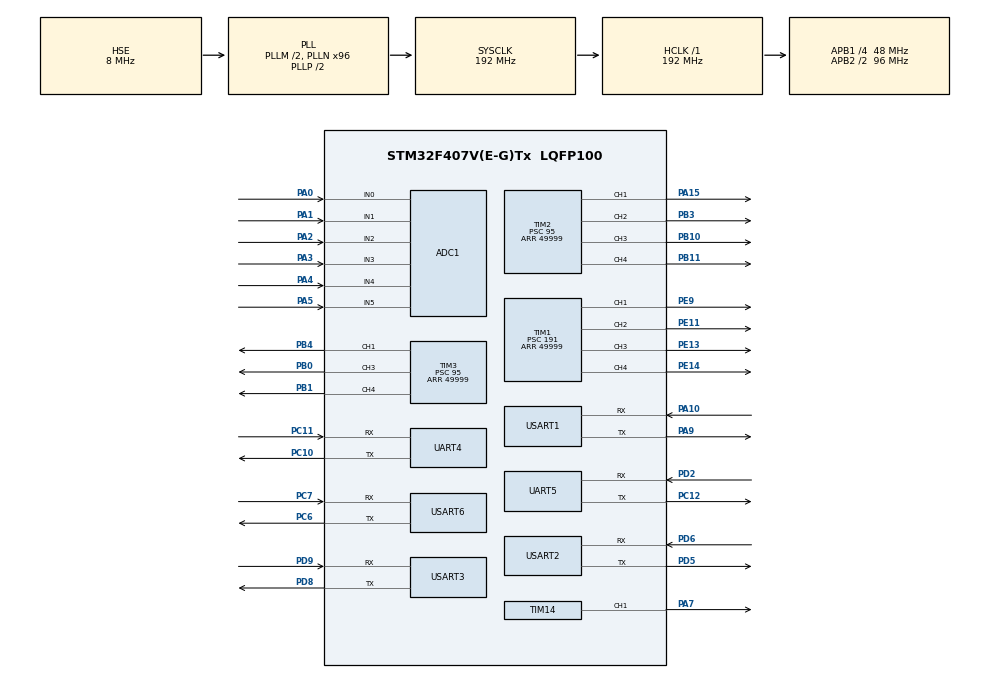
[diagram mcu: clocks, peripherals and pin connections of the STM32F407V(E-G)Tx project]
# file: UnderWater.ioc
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ADC1.Channel-0\#ChannelRegularConversion=ADC_CHANNEL_0
ADC1.Channel-1\#ChannelRegularConversion=ADC_CHANNEL_1
ADC1.Channel-2\#ChannelRegularConversion=ADC_CHANNEL_2
ADC1.Channel-3\#ChannelRegularConversion=ADC_CHANNEL_3
ADC1.Channel-4\#ChannelRegularConversion=ADC_CHANNEL_4
ADC1.Channel-5\#ChannelRegularConversion=ADC_CHANNEL_5
ADC1.ContinuousConvMode=ENABLE
ADC1.DMAContinuousRequests=ENABLE
ADC1.EOCSelection=ADC_EOC_SEQ_CONV
ADC1.NbrOfConversion=6
ADC1.NbrOfConversionFlag=1
ADC1.Rank-0\#ChannelRegularConversion=1
ADC1.Rank-1\#ChannelRegularConversion=2
ADC1.Rank-2\#ChannelRegularConversion=3
ADC1.Rank-3\#ChannelRegularConversion=4
ADC1.Rank-4\#ChannelRegularConversion=5
ADC1.Rank-5\#ChannelRegularConversion=6
ADC1.SamplingTime-0\#ChannelRegularConversion=ADC_SAMPLETIME_28CYCLES
ADC1.SamplingTime-1\#ChannelRegularConversion=ADC_SAMPLETIME_28CYCLES
ADC1.SamplingTime-2\#ChannelRegularConversion=ADC_SAMPLETIME_28CYCLES
ADC1.SamplingTime-3\#ChannelRegularConversion=ADC_SAMPLETIME_28CYCLES
ADC1.SamplingTime-4\#ChannelRegularConversion=ADC_SAMPLETIME_28CYCLES
ADC1.SamplingTime-5\#ChannelRegularConversion=ADC_SAMPLETIME_28CYCLES
ADC1.ScanConvMode=ENABLE
ADC1.master=1
Dma.ADC1.12.Direction=DMA_PERIPH_TO_MEMORY
Dma.ADC1.12.FIFOMode=DMA_FIFOMODE_DISABLE
Dma.ADC1.12.Instance=DMA2_Stream0
Dma.ADC1.12.MemDataAlignment=DMA_MDATAALIGN_WORD
Dma.ADC1.12.MemInc=DMA_MINC_ENABLE
Dma.ADC1.12.Mode=DMA_CIRCULAR
Dma.ADC1.12.PeriphDataAlignment=DMA_PDATAALIGN_WORD
Dma.ADC1.12.PeriphInc=DMA_PINC_DISABLE
Dma.ADC1.12.Priority=DMA_PRIORITY_LOW
Dma.Request0=UART4_RX
Dma.Request1=UART4_TX
Dma.Request10=USART6_RX
Dma.Request11=USART6_TX
Dma.Request12=ADC1
Dma.Request2=UART5_RX
Dma.Request3=UART5_TX
Dma.Request4=USART1_RX
Dma.Request5=USART1_TX
Dma.Request6=USART2_RX
Dma.Request7=USART2_TX
Dma.Request8=USART3_RX
Dma.Request9=USART3_TX
Dma.UART4_RX.0.Direction=DMA_PERIPH_TO_MEMORY
Dma.UART4_RX.0.FIFOMode=DMA_FIFOMODE_DISABLE
Dma.UART4_RX.0.Instance=DMA1_Stream2
Dma.UART4_RX.0.MemDataAlignment=DMA_MDATAALIGN_BYTE
Dma.UART4_RX.0.MemInc=DMA_MINC_ENABLE
Dma.UART4_RX.0.Mode=DMA_NORMAL
Dma.UART4_RX.0.PeriphDataAlignment=DMA_PDATAALIGN_BYTE
Dma.UART4_RX.0.PeriphInc=DMA_PINC_DISABLE
Dma.UART4_RX.0.Priority=DMA_PRIORITY_LOW
Dma.UART4_TX.1.Direction=DMA_MEMORY_TO_PERIPH
Dma.UART4_TX.1.FIFOMode=DMA_FIFOMODE_DISABLE
Dma.UART4_TX.1.Instance=DMA1_Stream4
Dma.UART4_TX.1.MemDataAlignment=DMA_MDATAALIGN_BYTE
Dma.UART4_TX.1.MemInc=DMA_MINC_ENABLE
Dma.UART4_TX.1.Mode=DMA_NORMAL
Dma.UART4_TX.1.PeriphDataAlignment=DMA_PDATAALIGN_BYTE
Dma.UART4_TX.1.PeriphInc=DMA_PINC_DISABLE
Dma.UART4_TX.1.Priority=DMA_PRIORITY_LOW
Dma.UART5_RX.2.Direction=DMA_PERIPH_TO_MEMORY
Dma.UART5_RX.2.FIFOMode=DMA_FIFOMODE_DISABLE
Dma.UART5_RX.2.Instance=DMA1_Stream0
Dma.UART5_RX.2.MemDataAlignment=DMA_MDATAALIGN_BYTE
Dma.UART5_RX.2.MemInc=DMA_MINC_ENABLE
Dma.UART5_RX.2.Mode=DMA_NORMAL
Dma.UART5_RX.2.PeriphDataAlignment=DMA_PDATAALIGN_BYTE
Dma.UART5_RX.2.PeriphInc=DMA_PINC_DISABLE
Dma.UART5_RX.2.Priority=DMA_PRIORITY_LOW
Dma.UART5_TX.3.Direction=DMA_MEMORY_TO_PERIPH
Dma.UART5_TX.3.FIFOMode=DMA_FIFOMODE_DISABLE
Dma.UART5_TX.3.Instance=DMA1_Stream7
Dma.UART5_TX.3.MemDataAlignment=DMA_MDATAALIGN_BYTE
Dma.UART5_TX.3.MemInc=DMA_MINC_ENABLE
Dma.UART5_TX.3.Mode=DMA_NORMAL
Dma.UART5_TX.3.PeriphDataAlignment=DMA_PDATAALIGN_BYTE
Dma.UART5_TX.3.PeriphInc=DMA_PINC_DISABLE
Dma.UART5_TX.3.Priority=DMA_PRIORITY_LOW
Dma.USART1_RX.4.Direction=DMA_PERIPH_TO_MEMORY
Dma.USART1_RX.4.FIFOMode=DMA_FIFOMODE_DISABLE
Dma.USART1_RX.4.Instance=DMA2_Stream2
Dma.USART1_RX.4.MemDataAlignment=DMA_MDATAALIGN_BYTE
Dma.USART1_RX.4.MemInc=DMA_MINC_ENABLE
Dma.USART1_RX.4.Mode=DMA_NORMAL
Dma.USART1_RX.4.PeriphDataAlignment=DMA_PDATAALIGN_BYTE
Dma.USART1_RX.4.PeriphInc=DMA_PINC_DISABLE
Dma.USART1_RX.4.Priority=DMA_PRIORITY_LOW
Dma.USART1_TX.5.Direction=DMA_MEMORY_TO_PERIPH
Dma.USART1_TX.5.FIFOMode=DMA_FIFOMODE_DISABLE
Dma.USART1_TX.5.Instance=DMA2_Stream7
Dma.USART1_TX.5.MemDataAlignment=DMA_MDATAALIGN_BYTE
Dma.USART1_TX.5.MemInc=DMA_MINC_ENABLE
Dma.USART1_TX.5.Mode=DMA_NORMAL
Dma.USART1_TX.5.PeriphDataAlignment=DMA_PDATAALIGN_BYTE
Dma.USART1_TX.5.PeriphInc=DMA_PINC_DISABLE
Dma.USART1_TX.5.Priority=DMA_PRIORITY_LOW
Dma.USART2_RX.6.Direction=DMA_PERIPH_TO_MEMORY
Dma.USART2_RX.6.FIFOMode=DMA_FIFOMODE_DISABLE
Dma.USART2_RX.6.Instance=DMA1_Stream5
Dma.USART2_RX.6.MemDataAlignment=DMA_MDATAALIGN_BYTE
Dma.USART2_RX.6.MemInc=DMA_MINC_ENABLE
Dma.USART2_RX.6.Mode=DMA_NORMAL
Dma.USART2_RX.6.PeriphDataAlignment=DMA_PDATAALIGN_BYTE
Dma.USART2_RX.6.PeriphInc=DMA_PINC_DISABLE
Dma.USART2_RX.6.Priority=DMA_PRIORITY_LOW
Dma.USART2_TX.7.Direction=DMA_MEMORY_TO_PERIPH
Dma.USART2_TX.7.FIFOMode=DMA_FIFOMODE_DISABLE
Dma.USART2_TX.7.Instance=DMA1_Stream6
Dma.USART2_TX.7.MemDataAlignment=DMA_MDATAALIGN_BYTE
Dma.USART2_TX.7.MemInc=DMA_MINC_ENABLE
Dma.USART2_TX.7.Mode=DMA_NORMAL
Dma.USART2_TX.7.PeriphDataAlignment=DMA_PDATAALIGN_BYTE
Dma.USART2_TX.7.PeriphInc=DMA_PINC_DISABLE
Dma.USART2_TX.7.Priority=DMA_PRIORITY_LOW
Dma.USART3_RX.8.Direction=DMA_PERIPH_TO_MEMORY
Dma.USART3_RX.8.FIFOMode=DMA_FIFOMODE_DISABLE
Dma.USART3_RX.8.Instance=DMA1_Stream1
Dma.USART3_RX.8.MemDataAlignment=DMA_MDATAALIGN_BYTE
Dma.USART3_RX.8.MemInc=DMA_MINC_ENABLE
Dma.USART3_RX.8.Mode=DMA_NORMAL
Dma.USART3_RX.8.PeriphDataAlignment=DMA_PDATAALIGN_BYTE
Dma.USART3_RX.8.PeriphInc=DMA_PINC_DISABLE
Dma.USART3_RX.8.Priority=DMA_PRIORITY_LOW
Dma.USART3_TX.9.Direction=DMA_MEMORY_TO_PERIPH
Dma.USART3_TX.9.FIFOMode=DMA_FIFOMODE_DISABLE
Dma.USART3_TX.9.Instance=DMA1_Stream3
Dma.USART3_TX.9.MemDataAlignment=DMA_MDATAALIGN_BYTE
Dma.USART3_TX.9.MemInc=DMA_MINC_ENABLE
Dma.USART3_TX.9.Mode=DMA_NORMAL
Dma.USART3_TX.9.PeriphDataAlignment=DMA_PDATAALIGN_BYTE
Dma.USART3_TX.9.PeriphInc=DMA_PINC_DISABLE
Dma.USART3_TX.9.Priority=DMA_PRIORITY_LOW
Dma.USART6_RX.10.Direction=DMA_PERIPH_TO_MEMORY
Dma.USART6_RX.10.FIFOMode=DMA_FIFOMODE_DISABLE
Dma.USART6_RX.10.Instance=DMA2_Stream1
Dma.USART6_RX.10.MemDataAlignment=DMA_MDATAALIGN_BYTE
Dma.USART6_RX.10.MemInc=DMA_MINC_ENABLE
Dma.USART6_RX.10.Mode=DMA_NORMAL
Dma.USART6_RX.10.PeriphDataAlignment=DMA_PDATAALIGN_BYTE
Dma.USART6_RX.10.PeriphInc=DMA_PINC_DISABLE
Dma.USART6_RX.10.Priority=DMA_PRIORITY_LOW
Dma.USART6_TX.11.Direction=DMA_MEMORY_TO_PERIPH
Dma.USART6_TX.11.FIFOMode=DMA_FIFOMODE_DISABLE
Dma.USART6_TX.11.Instance=DMA2_Stream6
Dma.USART6_TX.11.MemDataAlignment=DMA_MDATAALIGN_BYTE
Dma.USART6_TX.11.MemInc=DMA_MINC_ENABLE
Dma.USART6_TX.11.Mode=DMA_NORMAL
Dma.USART6_TX.11.PeriphDataAlignment=DMA_PDATAALIGN_BYTE
Dma.USART6_TX.11.PeriphInc=DMA_PINC_DISABLE
Dma.USART6_TX.11.Priority=DMA_PRIORITY_LOW
FREERTOS.Tasks01=ControlTask,2,128,CtrlTask,Default,NULL,Dynamic,NULL,NULL;DisplayTask,0,128,DisTask,Default,NULL,Dynamic,NULL,NULL;WaterDeepTask,0,128,WDTask,Default,NULL,Dynamic,NULL,NULL;AttitudeTask,0,128,AttTask,Default,NULL,Dynamic,NULL,NULL;EmptyTask,-3,128,EmpTask,Default,NULL,Dynamic,NULL,NULL;AutoMoveTask,0,128,AutoTask,Default,NULL,Dynamic,NULL,NULL;InitialTask,3,128,InitTask,Default,NULL,Dynamic,NULL,NULL;SwitcherTask,2,128,SWTask,Default,NULL,Dynamic,NULL,NULL
FREERTOS.configLIBRARY_MAX_SYSCALL_INTERRUPT_PRIORITY=5
IWDG.Prescaler=IWDG_PRESCALER_32
IWDG.Reload=2047
Mcu.Family=STM32F4
Mcu.Name=STM32F407V(E-G)Tx
Mcu.Package=LQFP100
NVIC.DMA1_Stream0_IRQn=true\:5\:0\:false\:false\:true\:true\:false\:true
NVIC.DMA1_Stream1_IRQn=true\:5\:0\:false\:false\:true\:true\:false\:true
NVIC.DMA1_Stream2_IRQn=true\:5\:0\:false\:false\:true\:true\:false\:true
NVIC.DMA1_Stream3_IRQn=true\:5\:0\:false\:false\:true\:true\:false\:true
NVIC.DMA1_Stream4_IRQn=true\:5\:0\:false\:false\:true\:true\:false\:true
NVIC.DMA1_Stream5_IRQn=true\:5\:0\:false\:false\:true\:true\:false\:true
NVIC.DMA1_Stream6_IRQn=true\:5\:0\:false\:false\:true\:true\:false\:true
NVIC.DMA1_Stream7_IRQn=true\:5\:0\:false\:false\:true\:true\:false\:true
NVIC.DMA2_Stream0_IRQn=true\:5\:0\:false\:false\:true\:true\:false\:true
NVIC.DMA2_Stream1_IRQn=true\:5\:0\:false\:false\:true\:true\:false\:true
NVIC.DMA2_Stream2_IRQn=true\:5\:0\:false\:false\:true\:true\:false\:true
NVIC.DMA2_Stream6_IRQn=true\:5\:0\:false\:false\:true\:true\:false\:true
NVIC.DMA2_Stream7_IRQn=true\:5\:0\:false\:false\:true\:true\:false\:true
NVIC.PriorityGroup=NVIC_PRIORITYGROUP_4
NVIC.TIM1_UP_TIM10_IRQn=true\:0\:0\:false\:false\:true\:false\:false\:true
NVIC.TIM7_IRQn=true\:7\:0\:true\:false\:true\:true\:true\:true
NVIC.TimeBase=TIM1_UP_TIM10_IRQn
NVIC.TimeBaseIP=TIM10
NVIC.UART4_IRQn=true\:6\:0\:true\:false\:true\:true\:true\:true
NVIC.UART5_IRQn=true\:6\:0\:true\:false\:true\:true\:true\:true
NVIC.USART1_IRQn=true\:5\:0\:true\:false\:true\:true\:true\:true
NVIC.USART2_IRQn=true\:6\:0\:true\:false\:true\:true\:true\:true
NVIC.USART3_IRQn=true\:6\:0\:true\:false\:true\:true\:true\:true
NVIC.USART6_IRQn=true\:6\:0\:true\:false\:true\:true\:true\:true
PA0-WKUP.Signal=ADCx_IN0
PA1.Signal=ADCx_IN1
PA10.Mode=Asynchronous
PA10.Signal=USART1_RX
PA13.Mode=Serial_Wire
PA13.Signal=SYS_JTMS-SWDIO
PA14.Mode=Serial_Wire
PA14.Signal=SYS_JTCK-SWCLK
PA15.Signal=S_TIM2_CH1_ETR
PA2.Signal=ADCx_IN2
PA3.Signal=ADCx_IN3
PA4.Signal=ADCx_IN4
PA5.Signal=ADCx_IN5
PA7.Signal=S_TIM14_CH1
PA9.Mode=Asynchronous
PA9.Signal=USART1_TX
PB0.Signal=S_TIM3_CH3
PB1.Signal=S_TIM3_CH4
PB10.Signal=S_TIM2_CH3
PB11.Signal=S_TIM2_CH4
PB3.Signal=S_TIM2_CH2
PB4.Signal=S_TIM3_CH1
PC10.Mode=Asynchronous
PC10.Signal=UART4_TX
PC11.Mode=Asynchronous
PC11.Signal=UART4_RX
PC12.Mode=Asynchronous
PC12.Signal=UART5_TX
PC14-OSC32_IN.Mode=LSE-External-Oscillator
PC14-OSC32_IN.Signal=RCC_OSC32_IN
PC15-OSC32_OUT.Mode=LSE-External-Oscillator
PC15-OSC32_OUT.Signal=RCC_OSC32_OUT
PC6.Mode=Asynchronous
PC6.Signal=USART6_TX
PC7.Mode=Asynchronous
PC7.Signal=USART6_RX
PD2.Mode=Asynchronous
PD2.Signal=UART5_RX
PD5.Mode=Asynchronous
PD5.Signal=USART2_TX
PD6.Mode=Asynchronous
PD6.Signal=USART2_RX
PD8.Mode=Asynchronous
PD8.Signal=USART3_TX
PD9.Mode=Asynchronous
PD9.Signal=USART3_RX
PE11.Signal=S_TIM1_CH2
PE13.Signal=S_TIM1_CH3
PE14.Signal=S_TIM1_CH4
PE9.Signal=S_TIM1_CH1
PH0-OSC_IN.Mode=HSE-External-Oscillator
PH0-OSC_IN.Signal=RCC_OSC_IN
PH1-OSC_OUT.Mode=HSE-External-Oscillator
PH1-OSC_OUT.Signal=RCC_OSC_OUT
ProjectManager.HeapSize=0x200
ProjectManager.StackSize=0x400
ProjectManager.TargetToolchain=MDK-ARM V5
RCC.48MHZClocksFreq_Value=96000000
RCC.AHBFreq_Value=192000000
RCC.APB1CLKDivider=RCC_HCLK_DIV4
RCC.APB1Freq_Value=48000000
RCC.APB1TimFreq_Value=96000000
RCC.APB2CLKDivider=RCC_HCLK_DIV2
RCC.APB2Freq_Value=96000000
RCC.APB2TimFreq_Value=192000000
RCC.CortexFreq_Value=192000000
RCC.HCLKFreq_Value=192000000
RCC.HSE_VALUE=8000000
RCC.HSI_VALUE=16000000
RCC.PLLM=2
RCC.PLLN=96
RCC.PLLSourceVirtual=RCC_PLLSOURCE_HSE
RCC.SYSCLKFreq_VALUE=192000000
RCC.SYSCLKSource=RCC_SYSCLKSOURCE_PLLCLK
RCC.VCOOutputFreq_Value=384000000
SH.ADCx_IN0.0=ADC1_IN0,IN0
SH.ADCx_IN1.0=ADC1_IN1,IN1
SH.ADCx_IN2.0=ADC1_IN2,IN2
SH.ADCx_IN3.0=ADC1_IN3,IN3
SH.ADCx_IN4.0=ADC1_IN4,IN4
SH.ADCx_IN5.0=ADC1_IN5,IN5
SH.S_TIM14_CH1.0=TIM14_CH1,PWM Generation1 CH1
SH.S_TIM1_CH1.0=TIM1_CH1,PWM Generation1 CH1
SH.S_TIM1_CH2.0=TIM1_CH2,PWM Generation2 CH2
SH.S_TIM1_CH3.0=TIM1_CH3,PWM Generation3 CH3
SH.S_TIM1_CH4.0=TIM1_CH4,PWM Generation4 CH4
SH.S_TIM2_CH1_ETR.0=TIM2_CH1,PWM Generation1 CH1
SH.S_TIM2_CH2.0=TIM2_CH2,PWM Generation2 CH2
SH.S_TIM2_CH3.0=TIM2_CH3,PWM Generation3 CH3
SH.S_TIM2_CH4.0=TIM2_CH4,PWM Generation4 CH4
SH.S_TIM3_CH1.0=TIM3_CH1,PWM Generation1 CH1
SH.S_TIM3_CH3.0=TIM3_CH3,PWM Generation3 CH3
SH.S_TIM3_CH4.0=TIM3_CH4,PWM Generation4 CH4
TIM1.Channel-PWM\ Generation1\ CH1=TIM_CHANNEL_1
TIM1.Channel-PWM\ Generation2\ CH2=TIM_CHANNEL_2
TIM1.Channel-PWM\ Generation3\ CH3=TIM_CHANNEL_3
TIM1.Channel-PWM\ Generation4\ CH4=TIM_CHANNEL_4
TIM1.Period=49999
TIM1.Prescaler=191
TIM1.Pulse-PWM\ Generation1\ CH1=1500
TIM1.Pulse-PWM\ Generation2\ CH2=1500
TIM1.Pulse-PWM\ Generation3\ CH3=1500
TIM1.Pulse-PWM\ Generation4\ CH4=1500
TIM14.Channel=TIM_CHANNEL_1
TIM14.Period=4999
TIM14.Prescaler=47
TIM2.Channel-PWM\ Generation1\ CH1=TIM_CHANNEL_1
TIM2.Channel-PWM\ Generation2\ CH2=TIM_CHANNEL_2
TIM2.Channel-PWM\ Generation3\ CH3=TIM_CHANNEL_3
TIM2.Channel-PWM\ Generation4\ CH4=TIM_CHANNEL_4
TIM2.Period=49999
TIM2.Prescaler=95
TIM2.Pulse-PWM\ Generation1\ CH1=1500
TIM2.Pulse-PWM\ Generation2\ CH2=1500
TIM2.Pulse-PWM\ Generation3\ CH3=1500
TIM2.Pulse-PWM\ Generation4\ CH4=1500
TIM3.Channel-PWM\ Generation1\ CH1=TIM_CHANNEL_1
TIM3.Channel-PWM\ Generation3\ CH3=TIM_CHANNEL_3
TIM3.Channel-PWM\ Generation4\ CH4=TIM_CHANNEL_4
TIM3.Period=49999
TIM3.Prescaler=95
TIM3.Pulse-PWM\ Generation1\ CH1=1500
TIM3.Pulse-PWM\ Generation3\ CH3=1500
TIM3.Pulse-PWM\ Generation4\ CH4=1500
TIM7.AutoReloadPreload=TIM_AUTORELOAD_PRELOAD_ENABLE
TIM7.Period=24999
TIM7.Prescaler=3839
UART4.VirtualMode=Asynchronous
UART5.VirtualMode=Asynchronous
USART1.VirtualMode=VM_ASYNC
USART2.VirtualMode=VM_ASYNC
USART3.VirtualMode=VM_ASYNC
USART6.VirtualMode=VM_ASYNC
VP_FREERTOS_VS_CMSIS_V1.Mode=CMSIS_V1
VP_IWDG_VS_IWDG.Mode=IWDG_Activate
VP_SYS_VS_tim10.Mode=TIM10
VP_TIM14_VS_ClockSourceINT.Mode=Enable_Timer
VP_TIM1_VS_ClockSourceINT.Mode=Internal
VP_TIM2_VS_ClockSourceINT.Mode=Internal
VP_TIM3_VS_ClockSourceINT.Mode=Internal
VP_TIM7_VS_ClockSourceINT.Mode=Enable_Timer
board=custom

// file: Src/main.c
/* USER CODE BEGIN Header */
/* USER CODE END Header */

#include "main.h"
#include "cmsis_os.h"

/* USER CODE BEGIN Includes */
#include "Attitude.h"
#include "Setting.h"
#include "Auto.h"
#include "Display.h"
#include "BasicCtrl.h"
/* USER CODE END Includes */

/* USER CODE BEGIN PTD */
typedef unsigned char u8;
typedef unsigned short u16;
/* USER CODE END PTD */

ADC_HandleTypeDef hadc1;
DMA_HandleTypeDef hdma_adc1;

IWDG_HandleTypeDef hiwdg;

TIM_HandleTypeDef htim1;
TIM_HandleTypeDef htim2;
TIM_HandleTypeDef htim3;
TIM_HandleTypeDef htim7;
TIM_HandleTypeDef htim14;

UART_HandleTypeDef huart4;
UART_HandleTypeDef huart5;
UART_HandleTypeDef huart1;
UART_HandleTypeDef huart2;
UART_HandleTypeDef huart3;
UART_HandleTypeDef huart6;
DMA_HandleTypeDef hdma_uart4_rx;
DMA_HandleTypeDef hdma_uart4_tx;
DMA_HandleTypeDef hdma_uart5_rx;
DMA_HandleTypeDef hdma_uart5_tx;
DMA_HandleTypeDef hdma_usart1_rx;
DMA_HandleTypeDef hdma_usart1_tx;
DMA_HandleTypeDef hdma_usart2_rx;
DMA_HandleTypeDef hdma_usart2_tx;
DMA_HandleTypeDef hdma_usart3_rx;
DMA_HandleTypeDef hdma_usart3_tx;
DMA_HandleTypeDef hdma_usart6_rx;
DMA_HandleTypeDef hdma_usart6_tx;

osThreadId ControlTaskHandle;
osThreadId DisplayTaskHandle;
osThreadId WaterDeepTaskHandle;
osThreadId AttitudeTaskHandle;
osThreadId EmptyTaskHandle;
osThreadId AutoMoveTaskHandle;
osThreadId InitialTaskHandle;
osThreadId SwitcherTaskHandle;
/* USER CODE BEGIN PV */
//鎬昏繘绋嬪惎鍔ㄨ姹傛爣蹇椾綅
volatile u8 TaskBeingChangeFlag = 0;
//涓绘帶杩涚▼鍚姩璇锋眰鏍囧織浣?
volatile u8 ControlTaskFlag = 0;
//鏄剧ず杩涚▼鍚姩璇锋眰鏍囧織浣?
volatile u8 DisplayTaskFlag = 0;
//姘存繁妫?娴嬭繘绋嬪惎鍔ㄨ姹傛爣蹇椾綅
volatile u8 WaterDeepTaskFlag = 0;
//涔濊酱璇诲彇杩涚▼鍚姩璇锋眰鏍囧織浣?
volatile u8 AttitudeTaskFlag = 0;
//鑷姩杩愬姩杩涚▼鍚姩璇锋眰鏍囧織浣?
volatile u8 AutoMoveTaskFlag = 0;

//鎺ㄨ繘鍣≒WM鍙ｅ畾涔?
volatile uint32_t* MoveCCR[8] = { &(TIM1->CCR1), &(TIM1->CCR2), &(TIM1->CCR3), &(TIM1->CCR4), &(TIM2->CCR1), &(TIM2->CCR2), &(TIM2->CCR3), &(TIM2->CCR4) };
//涓插彛1缂撳瓨
u8 UART1RXCache[UART1RXLen];
//涓插彛3缂撳瓨
u8 UART3RXCache[UART3RXLen];
//涓插彛4缂撳瓨
u8 UART4RXCache[UART4RXLen];
//涓插彛4璇诲彇鎸囬拡
u8* UART4RXPosition = 0;
//绯荤粺鍚姩鐘舵?佹爣蹇椾綅
volatile u8 SystemBegin = 0;

//妯℃嫙妫?娴嬬紦瀛?
uint32_t ADCCache[6] = { 0 };

//姘存繁鏁版嵁
u16 WaterDepth = 0;
//姘存俯鏁版嵁
u16 WaterTemperture = 0;
//姘存繁鎸変綅鏁版嵁
u8 WaterDepthNum[6];
//姘存俯鎸変綅鏁版嵁
u8 WaterTempertureNum[5];

//鍔犻?熷害鍘熷鏁版嵁
u16 AccNum[3] = { 0 };
//瑙掗?熷害鍘熷鏁版嵁
u16 RotNum[3] = { 0 };
//娆ф媺瑙掑師濮嬫暟鎹?
u16 EulNum[3] = { 0 };
//纾佸姏瑙掑師濮嬫暟鎹?
u16 MagNUM[3] = { 0 };
//涔濊酱鏉挎俯搴﹀師濮嬫暟鎹?
u16 InsTemNum;

//娆ф媺瑙掔粨鏋滄暟鎹?
u16 EulResNum[3] = { 0 };

/* USER CODE END PV */

void SystemClock_Config(void);
static void MX_GPIO_Init(void);
static void MX_DMA_Init(void);
static void MX_ADC1_Init(void);
static void MX_IWDG_Init(void);
static void MX_TIM1_Init(void);
static void MX_TIM2_Init(void);
static void MX_TIM3_Init(void);
static void MX_UART4_Init(void);
static void MX_UART5_Init(void);
static void MX_USART1_UART_Init(void);
static void MX_USART2_UART_Init(void);
static void MX_USART3_UART_Init(void);
static void MX_USART6_UART_Init(void);
static void MX_TIM14_Init(void);
static void MX_TIM7_Init(void);
void CtrlTask(void const * argument);
void DisTask(void const * argument);
void WDTask(void const * argument);
void AttTask(void const * argument);
void EmpTask(void const * argument);
void AutoTask(void const * argument);
void InitTask(void const * argument);
void SWTask(void const * argument);

int main(void)
{

  /* MCU Configuration--------------------------------------------------------*/

  /* Reset of all peripherals, Initializes the Flash interface and the Systick. */
  HAL_Init();

  /* Configure the system clock */
  SystemClock_Config();

  /* Initialize all configured peripherals */
  MX_GPIO_Init();
  MX_DMA_Init();
  MX_ADC1_Init();
  MX_IWDG_Init();
  MX_TIM1_Init();
  MX_TIM2_Init();
  MX_TIM3_Init();
  MX_UART4_Init();
  MX_UART5_Init();
  MX_USART1_UART_Init();
  MX_USART2_UART_Init();
  MX_USART3_UART_Init();
  MX_USART6_UART_Init();
  MX_TIM14_Init();
  MX_TIM7_Init();
  /* USER CODE BEGIN 2 */
	HAL_IWDG_Refresh(&hiwdg);
	BasicPoint(UART1RXCache);
  /* USER CODE END 2 */

  /* Create the thread(s) */
  /* definition and creation of ControlTask */
  osThreadDef(ControlTask, CtrlTask, osPriorityHigh, 0, 128);
  ControlTaskHandle = osThreadCreate(osThread(ControlTask), NULL);

  /* definition and creation of DisplayTask */
  osThreadDef(DisplayTask, DisTask, osPriorityNormal, 0, 128);
  DisplayTaskHandle = osThreadCreate(osThread(DisplayTask), NULL);

  /* definition and creation of WaterDeepTask */
  osThreadDef(WaterDeepTask, WDTask, osPriorityNormal, 0, 128);
  WaterDeepTaskHandle = osThreadCreate(osThread(WaterDeepTask), NULL);

  /* definition and creation of AttitudeTask */
  osThreadDef(AttitudeTask, AttTask, osPriorityNormal, 0, 128);
  AttitudeTaskHandle = osThreadCreate(osThread(AttitudeTask), NULL);

  /* definition and creation of EmptyTask */
  osThreadDef(EmptyTask, EmpTask, osPriorityIdle, 0, 128);
  EmptyTaskHandle = osThreadCreate(osThread(EmptyTask), NULL);

  /* definition and creation of AutoMoveTask */
  osThreadDef(AutoMoveTask, AutoTask, osPriorityNormal, 0, 128);
  AutoMoveTaskHandle = osThreadCreate(osThread(AutoMoveTask), NULL);

  /* definition and creation of InitialTask */
  osThreadDef(InitialTask, InitTask, osPriorityRealtime, 0, 128);
  InitialTaskHandle = osThreadCreate(osThread(InitialTask), NULL);

  /* definition and creation of SwitcherTask */
  osThreadDef(SwitcherTask, SWTask, osPriorityHigh, 0, 128);
  SwitcherTaskHandle = osThreadCreate(osThread(SwitcherTask), NULL);

  /* Start scheduler */
  osKernelStart();

  /* We should never get here as control is now taken by the scheduler */

  /* Infinite loop */

}

void SystemClock_Config(void)
{
  RCC_OscInitTypeDef RCC_OscInitStruct = {0};
  RCC_ClkInitTypeDef RCC_ClkInitStruct = {0};

  /** Configure the main internal regulator output voltage
  */
  __HAL_RCC_PWR_CLK_ENABLE();
  __HAL_PWR_VOLTAGESCALING_CONFIG(PWR_REGULATOR_VOLTAGE_SCALE1);
  /** Initializes the CPU, AHB and APB busses clocks
  */
  RCC_OscInitStruct.OscillatorType = RCC_OSCILLATORTYPE_LSI|RCC_OSCILLATORTYPE_HSE;
  RCC_OscInitStruct.HSEState = RCC_HSE_ON;
  RCC_OscInitStruct.LSIState = RCC_LSI_ON;
  RCC_OscInitStruct.PLL.PLLState = RCC_PLL_ON;
  RCC_OscInitStruct.PLL.PLLSource = RCC_PLLSOURCE_HSE;
  RCC_OscInitStruct.PLL.PLLM = 2;
  RCC_OscInitStruct.PLL.PLLN = 96;
  RCC_OscInitStruct.PLL.PLLP = RCC_PLLP_DIV2;
  RCC_OscInitStruct.PLL.PLLQ = 4;
  if (HAL_RCC_OscConfig(&RCC_OscInitStruct) != HAL_OK)
  {
    Error_Handler();
  }
  /** Initializes the CPU, AHB and APB busses clocks
  */
  RCC_ClkInitStruct.ClockType = RCC_CLOCKTYPE_HCLK|RCC_CLOCKTYPE_SYSCLK
                              |RCC_CLOCKTYPE_PCLK1|RCC_CLOCKTYPE_PCLK2;
  RCC_ClkInitStruct.SYSCLKSource = RCC_SYSCLKSOURCE_PLLCLK;
  RCC_ClkInitStruct.AHBCLKDivider = RCC_SYSCLK_DIV1;
  RCC_ClkInitStruct.APB1CLKDivider = RCC_HCLK_DIV4;
  RCC_ClkInitStruct.APB2CLKDivider = RCC_HCLK_DIV2;

  if (HAL_RCC_ClockConfig(&RCC_ClkInitStruct, FLASH_LATENCY_5) != HAL_OK)
  {
    Error_Handler();
  }
}

static void MX_ADC1_Init(void)
{

  ADC_ChannelConfTypeDef sConfig = {0};

  /** Configure the global features of the ADC (Clock, Resolution, Data Alignment and number of conversion)
  */
  hadc1.Instance = ADC1;
  hadc1.Init.ClockPrescaler = ADC_CLOCK_SYNC_PCLK_DIV4;
  hadc1.Init.Resolution = ADC_RESOLUTION_12B;
  hadc1.Init.ScanConvMode = ENABLE;
  hadc1.Init.ContinuousConvMode = ENABLE;
  hadc1.Init.DiscontinuousConvMode = DISABLE;
  hadc1.Init.ExternalTrigConvEdge = ADC_EXTERNALTRIGCONVEDGE_NONE;
  hadc1.Init.ExternalTrigConv = ADC_SOFTWARE_START;
  hadc1.Init.DataAlign = ADC_DATAALIGN_RIGHT;
  hadc1.Init.NbrOfConversion = 6;
  hadc1.Init.DMAContinuousRequests = ENABLE;
  hadc1.Init.EOCSelection = ADC_EOC_SEQ_CONV;
  if (HAL_ADC_Init(&hadc1) != HAL_OK)
  {
    Error_Handler();
  }
  /** Configure for the selected ADC regular channel its corresponding rank in the sequencer and its sample time.
  */
  sConfig.Channel = ADC_CHANNEL_0;
  sConfig.Rank = 1;
  sConfig.SamplingTime = ADC_SAMPLETIME_28CYCLES;
  if (HAL_ADC_ConfigChannel(&hadc1, &sConfig) != HAL_OK)
  {
    Error_Handler();
  }
  /** Configure for the selected ADC regular channel its corresponding rank in the sequencer and its sample time.
  */
  sConfig.Channel = ADC_CHANNEL_1;
  sConfig.Rank = 2;
  if (HAL_ADC_ConfigChannel(&hadc1, &sConfig) != HAL_OK)
  {
    Error_Handler();
  }
  /** Configure for the selected ADC regular channel its corresponding rank in the sequencer and its sample time.
  */
  sConfig.Channel = ADC_CHANNEL_2;
  sConfig.Rank = 3;
  if (HAL_ADC_ConfigChannel(&hadc1, &sConfig) != HAL_OK)
  {
    Error_Handler();
  }
  /** Configure for the selected ADC regular channel its corresponding rank in the sequencer and its sample time.
  */
  sConfig.Channel = ADC_CHANNEL_3;
  sConfig.Rank = 4;
  if (HAL_ADC_ConfigChannel(&hadc1, &sConfig) != HAL_OK)
  {
    Error_Handler();
  }
  /** Configure for the selected ADC regular channel its corresponding rank in the sequencer and its sample time.
  */
  sConfig.Channel = ADC_CHANNEL_4;
  sConfig.Rank = 5;
  if (HAL_ADC_ConfigChannel(&hadc1, &sConfig) != HAL_OK)
  {
    Error_Handler();
  }
  /** Configure for the selected ADC regular channel its corresponding rank in the sequencer and its sample time.
  */
  sConfig.Channel = ADC_CHANNEL_5;
  sConfig.Rank = 6;
  if (HAL_ADC_ConfigChannel(&hadc1, &sConfig) != HAL_OK)
  {
    Error_Handler();
  }

}

static void MX_IWDG_Init(void)
{

  hiwdg.Instance = IWDG;
  hiwdg.Init.Prescaler = IWDG_PRESCALER_32;
  hiwdg.Init.Reload = 2047;
  if (HAL_IWDG_Init(&hiwdg) != HAL_OK)
  {
    Error_Handler();
  }

}

static void MX_TIM1_Init(void)
{

  TIM_ClockConfigTypeDef sClockSourceConfig = {0};
  TIM_MasterConfigTypeDef sMasterConfig = {0};
  TIM_OC_InitTypeDef sConfigOC = {0};
  TIM_BreakDeadTimeConfigTypeDef sBreakDeadTimeConfig = {0};

  htim1.Instance = TIM1;
  htim1.Init.Prescaler = 191;
  htim1.Init.CounterMode = TIM_COUNTERMODE_UP;
  htim1.Init.Period = 49999;
  htim1.Init.ClockDivision = TIM_CLOCKDIVISION_DIV1;
  htim1.Init.RepetitionCounter = 0;
  htim1.Init.AutoReloadPreload = TIM_AUTORELOAD_PRELOAD_DISABLE;
  if (HAL_TIM_Base_Init(&htim1) != HAL_OK)
  {
    Error_Handler();
  }
  sClockSourceConfig.ClockSource = TIM_CLOCKSOURCE_INTERNAL;
  if (HAL_TIM_ConfigClockSource(&htim1, &sClockSourceConfig) != HAL_OK)
  {
    Error_Handler();
  }
  if (HAL_TIM_PWM_Init(&htim1) != HAL_OK)
  {
    Error_Handler();
  }
  sMasterConfig.MasterOutputTrigger = TIM_TRGO_RESET;
  sMasterConfig.MasterSlaveMode = TIM_MASTERSLAVEMODE_DISABLE;
  if (HAL_TIMEx_MasterConfigSynchronization(&htim1, &sMasterConfig) != HAL_OK)
  {
    Error_Handler();
  }
  sConfigOC.OCMode = TIM_OCMODE_PWM1;
  sConfigOC.Pulse = 1500;
  sConfigOC.OCPolarity = TIM_OCPOLARITY_HIGH;
  sConfigOC.OCNPolarity = TIM_OCNPOLARITY_HIGH;
  sConfigOC.OCFastMode = TIM_OCFAST_DISABLE;
  sConfigOC.OCIdleState = TIM_OCIDLESTATE_RESET;
  sConfigOC.OCNIdleState = TIM_OCNIDLESTATE_RESET;
  if (HAL_TIM_PWM_ConfigChannel(&htim1, &sConfigOC, TIM_CHANNEL_1) != HAL_OK)
  {
    Error_Handler();
  }
  if (HAL_TIM_PWM_ConfigChannel(&htim1, &sConfigOC, TIM_CHANNEL_2) != HAL_OK)
  {
    Error_Handler();
  }
  if (HAL_TIM_PWM_ConfigChannel(&htim1, &sConfigOC, TIM_CHANNEL_3) != HAL_OK)
  {
    Error_Handler();
  }
  if (HAL_TIM_PWM_ConfigChannel(&htim1, &sConfigOC, TIM_CHANNEL_4) != HAL_OK)
  {
    Error_Handler();
  }
  sBreakDeadTimeConfig.OffStateRunMode = TIM_OSSR_DISABLE;
  sBreakDeadTimeConfig.OffStateIDLEMode = TIM_OSSI_DISABLE;
  sBreakDeadTimeConfig.LockLevel = TIM_LOCKLEVEL_OFF;
  sBreakDeadTimeConfig.DeadTime = 0;
  sBreakDeadTimeConfig.BreakState = TIM_BREAK_DISABLE;
  sBreakDeadTimeConfig.BreakPolarity = TIM_BREAKPOLARITY_HIGH;
  sBreakDeadTimeConfig.AutomaticOutput = TIM_AUTOMATICOUTPUT_DISABLE;
  if (HAL_TIMEx_ConfigBreakDeadTime(&htim1, &sBreakDeadTimeConfig) != HAL_OK)
  {
    Error_Handler();
  }
  HAL_TIM_MspPostInit(&htim1);

}

static void MX_TIM2_Init(void)
{

  TIM_ClockConfigTypeDef sClockSourceConfig = {0};
  TIM_MasterConfigTypeDef sMasterConfig = {0};
  TIM_OC_InitTypeDef sConfigOC = {0};

  htim2.Instance = TIM2;
  htim2.Init.Prescaler = 95;
  htim2.Init.CounterMode = TIM_COUNTERMODE_UP;
  htim2.Init.Period = 49999;
  htim2.Init.ClockDivision = TIM_CLOCKDIVISION_DIV1;
  htim2.Init.AutoReloadPreload = TIM_AUTORELOAD_PRELOAD_DISABLE;
  if (HAL_TIM_Base_Init(&htim2) != HAL_OK)
  {
    Error_Handler();
  }
  sClockSourceConfig.ClockSource = TIM_CLOCKSOURCE_INTERNAL;
  if (HAL_TIM_ConfigClockSource(&htim2, &sClockSourceConfig) != HAL_OK)
  {
    Error_Handler();
  }
  if (HAL_TIM_PWM_Init(&htim2) != HAL_OK)
  {
    Error_Handler();
  }
  sMasterConfig.MasterOutputTrigger = TIM_TRGO_RESET;
  sMasterConfig.MasterSlaveMode = TIM_MASTERSLAVEMODE_DISABLE;
  if (HAL_TIMEx_MasterConfigSynchronization(&htim2, &sMasterConfig) != HAL_OK)
  {
    Error_Handler();
  }
  sConfigOC.OCMode = TIM_OCMODE_PWM1;
  sConfigOC.Pulse = 1500;
  sConfigOC.OCPolarity = TIM_OCPOLARITY_HIGH;
  sConfigOC.OCFastMode = TIM_OCFAST_DISABLE;
  if (HAL_TIM_PWM_ConfigChannel(&htim2, &sConfigOC, TIM_CHANNEL_1) != HAL_OK)
  {
    Error_Handler();
  }
  if (HAL_TIM_PWM_ConfigChannel(&htim2, &sConfigOC, TIM_CHANNEL_2) != HAL_OK)
  {
    Error_Handler();
  }
  if (HAL_TIM_PWM_ConfigChannel(&htim2, &sConfigOC, TIM_CHANNEL_3) != HAL_OK)
  {
    Error_Handler();
  }
  if (HAL_TIM_PWM_ConfigChannel(&htim2, &sConfigOC, TIM_CHANNEL_4) != HAL_OK)
  {
    Error_Handler();
  }
  HAL_TIM_MspPostInit(&htim2);

}

static void MX_TIM3_Init(void)
{

  TIM_ClockConfigTypeDef sClockSourceConfig = {0};
  TIM_MasterConfigTypeDef sMasterConfig = {0};
  TIM_OC_InitTypeDef sConfigOC = {0};

  htim3.Instance = TIM3;
  htim3.Init.Prescaler = 95;
  htim3.Init.CounterMode = TIM_COUNTERMODE_UP;
  htim3.Init.Period = 49999;
  htim3.Init.ClockDivision = TIM_CLOCKDIVISION_DIV1;
  htim3.Init.AutoReloadPreload = TIM_AUTORELOAD_PRELOAD_DISABLE;
  if (HAL_TIM_Base_Init(&htim3) != HAL_OK)
  {
    Error_Handler();
  }
  sClockSourceConfig.ClockSource = TIM_CLOCKSOURCE_INTERNAL;
  if (HAL_TIM_ConfigClockSource(&htim3, &sClockSourceConfig) != HAL_OK)
  {
    Error_Handler();
  }
  if (HAL_TIM_PWM_Init(&htim3) != HAL_OK)
  {
    Error_Handler();
  }
  sMasterConfig.MasterOutputTrigger = TIM_TRGO_RESET;
  sMasterConfig.MasterSlaveMode = TIM_MASTERSLAVEMODE_DISABLE;
  if (HAL_TIMEx_MasterConfigSynchronization(&htim3, &sMasterConfig) != HAL_OK)
  {
    Error_Handler();
  }
  sConfigOC.OCMode = TIM_OCMODE_PWM1;
  sConfigOC.Pulse = 1500;
  sConfigOC.OCPolarity = TIM_OCPOLARITY_HIGH;
  sConfigOC.OCFastMode = TIM_OCFAST_DISABLE;
  if (HAL_TIM_PWM_ConfigChannel(&htim3, &sConfigOC, TIM_CHANNEL_1) != HAL_OK)
  {
    Error_Handler();
  }
  if (HAL_TIM_PWM_ConfigChannel(&htim3, &sConfigOC, TIM_CHANNEL_3) != HAL_OK)
  {
    Error_Handler();
  }
  if (HAL_TIM_PWM_ConfigChannel(&htim3, &sConfigOC, TIM_CHANNEL_4) != HAL_OK)
  {
    Error_Handler();
  }
  HAL_TIM_MspPostInit(&htim3);

}

static void MX_TIM7_Init(void)
{

  TIM_MasterConfigTypeDef sMasterConfig = {0};

  htim7.Instance = TIM7;
  htim7.Init.Prescaler = 3839;
  htim7.Init.CounterMode = TIM_COUNTERMODE_UP;
  htim7.Init.Period = 24999;
  htim7.Init.AutoReloadPreload = TIM_AUTORELOAD_PRELOAD_ENABLE;
  if (HAL_TIM_Base_Init(&htim7) != HAL_OK)
  {
    Error_Handler();
  }
  sMasterConfig.MasterOutputTrigger = TIM_TRGO_RESET;
  sMasterConfig.MasterSlaveMode = TIM_MASTERSLAVEMODE_DISABLE;
  if (HAL_TIMEx_MasterConfigSynchronization(&htim7, &sMasterConfig) != HAL_OK)
  {
    Error_Handler();
  }

}

static void MX_TIM14_Init(void)
{

  TIM_OC_InitTypeDef sConfigOC = {0};

  htim14.Instance = TIM14;
  htim14.Init.Prescaler = 47;
  htim14.Init.CounterMode = TIM_COUNTERMODE_UP;
  htim14.Init.Period = 4999;
  htim14.Init.ClockDivision = TIM_CLOCKDIVISION_DIV1;
  htim14.Init.AutoReloadPreload = TIM_AUTORELOAD_PRELOAD_DISABLE;
  if (HAL_TIM_Base_Init(&htim14) != HAL_OK)
  {
    Error_Handler();
  }
  if (HAL_TIM_PWM_Init(&htim14) != HAL_OK)
  {
    Error_Handler();
  }
  sConfigOC.OCMode = TIM_OCMODE_PWM1;
  sConfigOC.Pulse = 0;
  sConfigOC.OCPolarity = TIM_OCPOLARITY_HIGH;
  sConfigOC.OCFastMode = TIM_OCFAST_DISABLE;
  if (HAL_TIM_PWM_ConfigChannel(&htim14, &sConfigOC, TIM_CHANNEL_1) != HAL_OK)
  {
    Error_Handler();
  }
  HAL_TIM_MspPostInit(&htim14);

}

static void MX_UART4_Init(void)
{

  huart4.Instance = UART4;
  huart4.Init.BaudRate = 115200;
  huart4.Init.WordLength = UART_WORDLENGTH_8B;
  huart4.Init.StopBits = UART_STOPBITS_1;
  huart4.Init.Parity = UART_PARITY_NONE;
  huart4.Init.Mode = UART_MODE_TX_RX;
  huart4.Init.HwFlowCtl = UART_HWCONTROL_NONE;
  huart4.Init.OverSampling = UART_OVERSAMPLING_16;
  if (HAL_UART_Init(&huart4) != HAL_OK)
  {
    Error_Handler();
  }

}

static void MX_UART5_Init(void)
{

  huart5.Instance = UART5;
  huart5.Init.BaudRate = 115200;
  huart5.Init.WordLength = UART_WORDLENGTH_8B;
  huart5.Init.StopBits = UART_STOPBITS_1;
  huart5.Init.Parity = UART_PARITY_NONE;
  huart5.Init.Mode = UART_MODE_TX_RX;
  huart5.Init.HwFlowCtl = UART_HWCONTROL_NONE;
  huart5.Init.OverSampling = UART_OVERSAMPLING_16;
  if (HAL_UART_Init(&huart5) != HAL_OK)
  {
    Error_Handler();
  }

}

static void MX_USART1_UART_Init(void)
{

  huart1.Instance = USART1;
  huart1.Init.BaudRate = 115200;
  huart1.Init.WordLength = UART_WORDLENGTH_8B;
  huart1.Init.StopBits = UART_STOPBITS_1;
  huart1.Init.Parity = UART_PARITY_NONE;
  huart1.Init.Mode = UART_MODE_TX_RX;
  huart1.Init.HwFlowCtl = UART_HWCONTROL_NONE;
  huart1.Init.OverSampling = UART_OVERSAMPLING_16;
  if (HAL_UART_Init(&huart1) != HAL_OK)
  {
    Error_Handler();
  }

}

static void MX_USART2_UART_Init(void)
{

  huart2.Instance = USART2;
  huart2.Init.BaudRate = 115200;
  huart2.Init.WordLength = UART_WORDLENGTH_8B;
  huart2.Init.StopBits = UART_STOPBITS_1;
  huart2.Init.Parity = UART_PARITY_NONE;
  huart2.Init.Mode = UART_MODE_TX_RX;
  huart2.Init.HwFlowCtl = UART_HWCONTROL_NONE;
  huart2.Init.OverSampling = UART_OVERSAMPLING_16;
  if (HAL_UART_Init(&huart2) != HAL_OK)
  {
    Error_Handler();
  }

}

static void MX_USART3_UART_Init(void)
{

  huart3.Instance = USART3;
  huart3.Init.BaudRate = 115200;
  huart3.Init.WordLength = UART_WORDLENGTH_8B;
  huart3.Init.StopBits = UART_STOPBITS_1;
  huart3.Init.Parity = UART_PARITY_NONE;
  huart3.Init.Mode = UART_MODE_TX_RX;
  huart3.Init.HwFlowCtl = UART_HWCONTROL_NONE;
  huart3.Init.OverSampling = UART_OVERSAMPLING_16;
  if (HAL_UART_Init(&huart3) != HAL_OK)
  {
    Error_Handler();
  }

}

static void MX_USART6_UART_Init(void)
{

  huart6.Instance = USART6;
  huart6.Init.BaudRate = 115200;
  huart6.Init.WordLength = UART_WORDLENGTH_8B;
  huart6.Init.StopBits = UART_STOPBITS_1;
  huart6.Init.Parity = UART_PARITY_NONE;
  huart6.Init.Mode = UART_MODE_TX_RX;
  huart6.Init.HwFlowCtl = UART_HWCONTROL_NONE;
  huart6.Init.OverSampling = UART_OVERSAMPLING_16;
  if (HAL_UART_Init(&huart6) != HAL_OK)
  {
    Error_Handler();
  }

}

static void MX_DMA_Init(void)
{

  /* DMA controller clock enable */
  __HAL_RCC_DMA1_CLK_ENABLE();
  __HAL_RCC_DMA2_CLK_ENABLE();

  /* DMA interrupt init */
  /* DMA1_Stream0_IRQn interrupt configuration */
  HAL_NVIC_SetPriority(DMA1_Stream0_IRQn, 5, 0);
  HAL_NVIC_EnableIRQ(DMA1_Stream0_IRQn);
  /* DMA1_Stream1_IRQn interrupt configuration */
  HAL_NVIC_SetPriority(DMA1_Stream1_IRQn, 5, 0);
  HAL_NVIC_EnableIRQ(DMA1_Stream1_IRQn);
  /* DMA1_Stream2_IRQn interrupt configuration */
  HAL_NVIC_SetPriority(DMA1_Stream2_IRQn, 5, 0);
  HAL_NVIC_EnableIRQ(DMA1_Stream2_IRQn);
  /* DMA1_Stream3_IRQn interrupt configuration */
  HAL_NVIC_SetPriority(DMA1_Stream3_IRQn, 5, 0);
  HAL_NVIC_EnableIRQ(DMA1_Stream3_IRQn);
  /* DMA1_Stream4_IRQn interrupt configuration */
  HAL_NVIC_SetPriority(DMA1_Stream4_IRQn, 5, 0);
  HAL_NVIC_EnableIRQ(DMA1_Stream4_IRQn);
  /* DMA1_Stream5_IRQn interrupt configuration */
  HAL_NVIC_SetPriority(DMA1_Stream5_IRQn, 5, 0);
  HAL_NVIC_EnableIRQ(DMA1_Stream5_IRQn);
  /* DMA1_Stream6_IRQn interrupt configuration */
  HAL_NVIC_SetPriority(DMA1_Stream6_IRQn, 5, 0);
  HAL_NVIC_EnableIRQ(DMA1_Stream6_IRQn);
  /* DMA1_Stream7_IRQn interrupt configuration */
  HAL_NVIC_SetPriority(DMA1_Stream7_IRQn, 5, 0);
  HAL_NVIC_EnableIRQ(DMA1_Stream7_IRQn);
  /* DMA2_Stream0_IRQn interrupt configuration */
  HAL_NVIC_SetPriority(DMA2_Stream0_IRQn, 5, 0);
  HAL_NVIC_EnableIRQ(DMA2_Stream0_IRQn);
  /* DMA2_Stream1_IRQn interrupt configuration */
  HAL_NVIC_SetPriority(DMA2_Stream1_IRQn, 5, 0);
  HAL_NVIC_EnableIRQ(DMA2_Stream1_IRQn);
  /* DMA2_Stream2_IRQn interrupt configuration */
  HAL_NVIC_SetPriority(DMA2_Stream2_IRQn, 5, 0);
  HAL_NVIC_EnableIRQ(DMA2_Stream2_IRQn);
  /* DMA2_Stream6_IRQn interrupt configuration */
  HAL_NVIC_SetPriority(DMA2_Stream6_IRQn, 5, 0);
  HAL_NVIC_EnableIRQ(DMA2_Stream6_IRQn);
  /* DMA2_Stream7_IRQn interrupt configuration */
  HAL_NVIC_SetPriority(DMA2_Stream7_IRQn, 5, 0);
  HAL_NVIC_EnableIRQ(DMA2_Stream7_IRQn);

}

static void MX_GPIO_Init(void)
{

  /* GPIO Ports Clock Enable */
  __HAL_RCC_GPIOC_CLK_ENABLE();
  __HAL_RCC_GPIOH_CLK_ENABLE();
  __HAL_RCC_GPIOA_CLK_ENABLE();
  __HAL_RCC_GPIOB_CLK_ENABLE();
  __HAL_RCC_GPIOE_CLK_ENABLE();
  __HAL_RCC_GPIOD_CLK_ENABLE();

}

void CtrlTask(void const * argument)
{

  /* USER CODE BEGIN 5 */
  /* Infinite loop */
  for(;;)
  {
	  u8 WarnNum = 0;
	  u8 PowerNum = ADCCache[0] / 4096 * 3.3 * 50;
	  HAL_IWDG_Refresh(&hiwdg);
	  BasicControl(MoveCCR, &TIM3->CCR1, &TIM3->CCR3, &TIM3->CCR4, &TIM14->CCR1);
	  if (SWPassback)
	  {
		 if (ADCCache[1] > 3100)
		  {
			  WarnNum += 1;
		  }
		  if (ADCCache[2] > 3100)
		  {
			  WarnNum += 2;
		  }
		  PassBack(&huart1, PowerNum, WarnNum, AccNum, RotNum, EulNum, MagNUM, InsTemNum, WaterTemperture, WaterDepth);
	  }
	  __HAL_UART_ENABLE_IT(&huart1, UART_IT_IDLE);
	  HAL_UART_Receive_DMA(&huart1, UART1RXCache, UART1RXLen);

	  vTaskSuspend(ControlTaskHandle);
    osDelay(5);
  }
  /* USER CODE END 5 */
}

void DisTask(void const * argument)
{
  /* USER CODE BEGIN DisTask */
	u8 PowerNum;
  /* Infinite loop */
  for(;;)
  {
	  if (SWPowerScanner)
	  {
		  PowerNum = ADCCache[0] / 4096 * 3.3 * 50;
		  DisPower(&huart4, PowerNum);
		  if (ADCCache[1] > 3100)
		  {
			  DisWarning(&huart2, 0);
			  osDelay(5);
		  }
		  else
		  {
			  DisWarning(&huart2, 3);
			  osDelay(5);
		  }
		  HAL_IWDG_Refresh(&hiwdg);
		  if (ADCCache[2] > 3100)
		  {
			  DisWarning(&huart2, 1);
			  osDelay(5);
		  }
		  else
		  {
			  DisWarning(&huart2, 4);
			  osDelay(5);
		  }
		  HAL_IWDG_Refresh(&hiwdg);
	  }
	  if (SWWaterDeep)
	  {
		  DisWaterDeep(&huart2, WaterDepthNum, WaterTempertureNum);
		  osDelay(5);
		  HAL_IWDG_Refresh(&hiwdg);
	  }

	  if (SWAttitudeSensor)
	  {
		  DisAttitude(&huart2, EulResNum[0], EulResNum[1], EulResNum[2], InsTemNum);
		  osDelay(5);
		  HAL_IWDG_Refresh(&hiwdg);
	  }

	  HAL_IWDG_Refresh(&hiwdg);
    osDelay(1);
  }
  /* USER CODE END DisTask */
}

void WDTask(void const * argument)
{
  /* USER CODE BEGIN WDTask */
  /* Infinite loop */
  for(;;)
  {
	  DeepAnalyze(UART4RXPosition, &WaterDepth, &WaterTemperture, WaterDepthNum, WaterTempertureNum);
	  HAL_UART_Receive_DMA(&huart4, UART3RXCache, UART3RXLen);
	  __HAL_UART_ENABLE_IT(&huart4, UART_IT_IDLE);
	  HAL_IWDG_Refresh(&hiwdg);
	  vTaskSuspend(WaterDeepTaskHandle);
    osDelay(1);
  }
  /* USER CODE END WDTask */
}

void AttTask(void const * argument)
{
  /* USER CODE BEGIN AttTask */
  /* Infinite loop */
  for(;;)
  {
	  AttitudeTake(EulResNum, AccNum, RotNum, EulNum, MagNUM, &InsTemNum);
	  HAL_UART_Receive_DMA(&huart3, UART3RXCache, UART3RXLen);
	  __HAL_UART_ENABLE_IT(&huart3, UART_IT_IDLE);

	  HAL_IWDG_Refresh(&hiwdg);
	  vTaskSuspend(AttitudeTaskHandle);
    osDelay(2);
  }
  /* USER CODE END AttTask */
}

void EmpTask(void const * argument)
{
  /* USER CODE BEGIN EmpTask */

  /* Infinite loop */
  for(;;)
  {
	  HAL_IWDG_Refresh(&hiwdg);
  }
  /* USER CODE END EmpTask */
}

void AutoTask(void const * argument)
{
  /* USER CODE BEGIN AutoTask */
  /* Infinite loop */
  for(;;)
  {
	  HAL_IWDG_Refresh(&hiwdg);
    osDelay(1);
  }
  /* USER CODE END AutoTask */
}

void InitTask(void const * argument)
{
  /* USER CODE BEGIN InitTask */
	vTaskSuspend(ControlTaskHandle);
	vTaskSuspend(AttitudeTaskHandle);
	vTaskSuspend(WaterDeepTaskHandle);
	vTaskSuspend(DisplayTaskHandle);
	vTaskSuspend(AutoMoveTaskHandle);
	HAL_UART_Receive_DMA(&huart1, UART1RXCache, UART1RXLen);
	__HAL_UART_ENABLE_IT(&huart1, UART_IT_IDLE);
	HAL_TIM_PWM_Start(&htim3, TIM_CHANNEL_3);
	HAL_TIM_PWM_Start(&htim14, TIM_CHANNEL_1);
	HAL_TIM_Base_Start_IT(&htim7);
	while (!SystemBegin)
	{
		HAL_IWDG_Refresh(&hiwdg);
	}
	HAL_TIM_PWM_Start(&htim1, TIM_CHANNEL_1);
	HAL_TIM_PWM_Start(&htim1, TIM_CHANNEL_2);
	HAL_TIM_PWM_Start(&htim1, TIM_CHANNEL_3);
	HAL_TIM_PWM_Start(&htim1, TIM_CHANNEL_4);
	HAL_TIM_PWM_Start(&htim2, TIM_CHANNEL_1);
	HAL_TIM_PWM_Start(&htim2, TIM_CHANNEL_2);
	HAL_TIM_PWM_Start(&htim2, TIM_CHANNEL_3);
	HAL_TIM_PWM_Start(&htim2, TIM_CHANNEL_4);
	HAL_TIM_PWM_Start(&htim3, TIM_CHANNEL_1);
	HAL_TIM_PWM_Start(&htim3, TIM_CHANNEL_4);

	TIM1->CCR1 = 1500;
	TIM1->CCR2 = 1500;
	TIM1->CCR3 = 1500;
	TIM1->CCR4 = 1500;
	TIM2->CCR1 = 1500;
	TIM2->CCR2 = 1500;
	TIM2->CCR3 = 1500;
	TIM2->CCR4 = 1500;
	TIM3->CCR1 = 1500;
	TIM3->CCR3 = 1500;
	TIM3->CCR4 = 1500;
	TIM14->CCR1 = 0;
	if (SWDisplayWords)
	{
		vTaskResume(DisplayTaskHandle);
	}
	if (SWAutoMove)
	{
		vTaskResume(AutoMoveTaskHandle);
	}
	if (SWPowerScanner)
	{
		HAL_ADC_Start_DMA(&hadc1, ADCCache, 6);
	}
	if (SWWaterDeep)
	{
		HAL_UART_Receive_DMA(&huart4, UART4RXCache, UART4RXLen);
		__HAL_UART_ENABLE_IT(&huart4, UART_IT_IDLE);

	}
	if (SWAttitudeSensor)
	{
		AttitudePoint(UART3RXCache);
		HAL_UART_Receive_DMA(&huart3, UART3RXCache, UART3RXLen);
		__HAL_UART_ENABLE_IT(&huart3, UART_IT_IDLE);
	}

	HAL_IWDG_Refresh(&hiwdg);
	vTaskSuspend(InitialTaskHandle);
  /* Infinite loop */
  for(;;)
  {
    osDelay(10000);
  }
  /* USER CODE END InitTask */
}

void SWTask(void const * argument)
{
  /* USER CODE BEGIN SWTask */
  /* Infinite loop */
  for(;;)
  {
	  HAL_IWDG_Refresh(&hiwdg);
	  if (TaskBeingChangeFlag)
	  {
		  //
		  TaskBeingChangeFlag = 0;
		  if (WaterDeepTaskFlag)
		  {
			  WaterDeepTaskFlag=0;
			  vTaskResume(WaterDeepTaskHandle);
			  osDelay(2);
		  }
		  if (ControlTaskFlag)
		  {
			  ControlTaskFlag = 0;
			  vTaskResume(ControlTaskHandle);
			  osDelay(2);
		  }
		  //
//		  if (DisplayTaskFlag)
//		  {
//			  DisplayTaskFlag=0;
//			  vTaskResume(DisplayTaskHandle);osDelay(2);
//		  }
		  if(AttitudeTaskFlag)
		  {
			  AttitudeTaskFlag = 0;
			  vTaskResume(AttitudeTaskHandle);
			  osDelay(2);
		  }
		  //
//		  if (AutoMoveTaskFlag)
//		  {
//			  AutoMoveTaskFlag=0;
//			  vTaskResume(AutoMoveTaskHandle);
//			  osDelay(2);
//		  }
	  }
	  else
	  {
		  osDelay(1);
	  }
  }
  /* USER CODE END SWTask */
}

void HAL_TIM_PeriodElapsedCallback(TIM_HandleTypeDef *htim)
{
  if (htim->Instance == TIM10) {
    HAL_IncTick();
  }
}

void Error_Handler(void)
{
}

/************************ (C) COPYRIGHT STMicroelectronics *****END OF FILE****/

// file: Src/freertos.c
/* USER CODE BEGIN Header */
/* USER CODE END Header */

#include "FreeRTOS.h"
#include "task.h"
#include "main.h"

/* GetIdleTaskMemory prototype (linked to static allocation support) */
void vApplicationGetIdleTaskMemory( StaticTask_t **ppxIdleTaskTCBBuffer, StackType_t **ppxIdleTaskStackBuffer, uint32_t *pulIdleTaskStackSize );

/* USER CODE BEGIN GET_IDLE_TASK_MEMORY */
static StaticTask_t xIdleTaskTCBBuffer;
static StackType_t xIdleStack[configMINIMAL_STACK_SIZE];

void vApplicationGetIdleTaskMemory( StaticTask_t **ppxIdleTaskTCBBuffer, StackType_t **ppxIdleTaskStackBuffer, uint32_t *pulIdleTaskStackSize )
{
  *ppxIdleTaskTCBBuffer = &xIdleTaskTCBBuffer;
  *ppxIdleTaskStackBuffer = &xIdleStack[0];
  *pulIdleTaskStackSize = configMINIMAL_STACK_SIZE;
  /* place for user code */
}
/* USER CODE END GET_IDLE_TASK_MEMORY */

/************************ (C) COPYRIGHT STMicroelectronics *****END OF FILE****/
